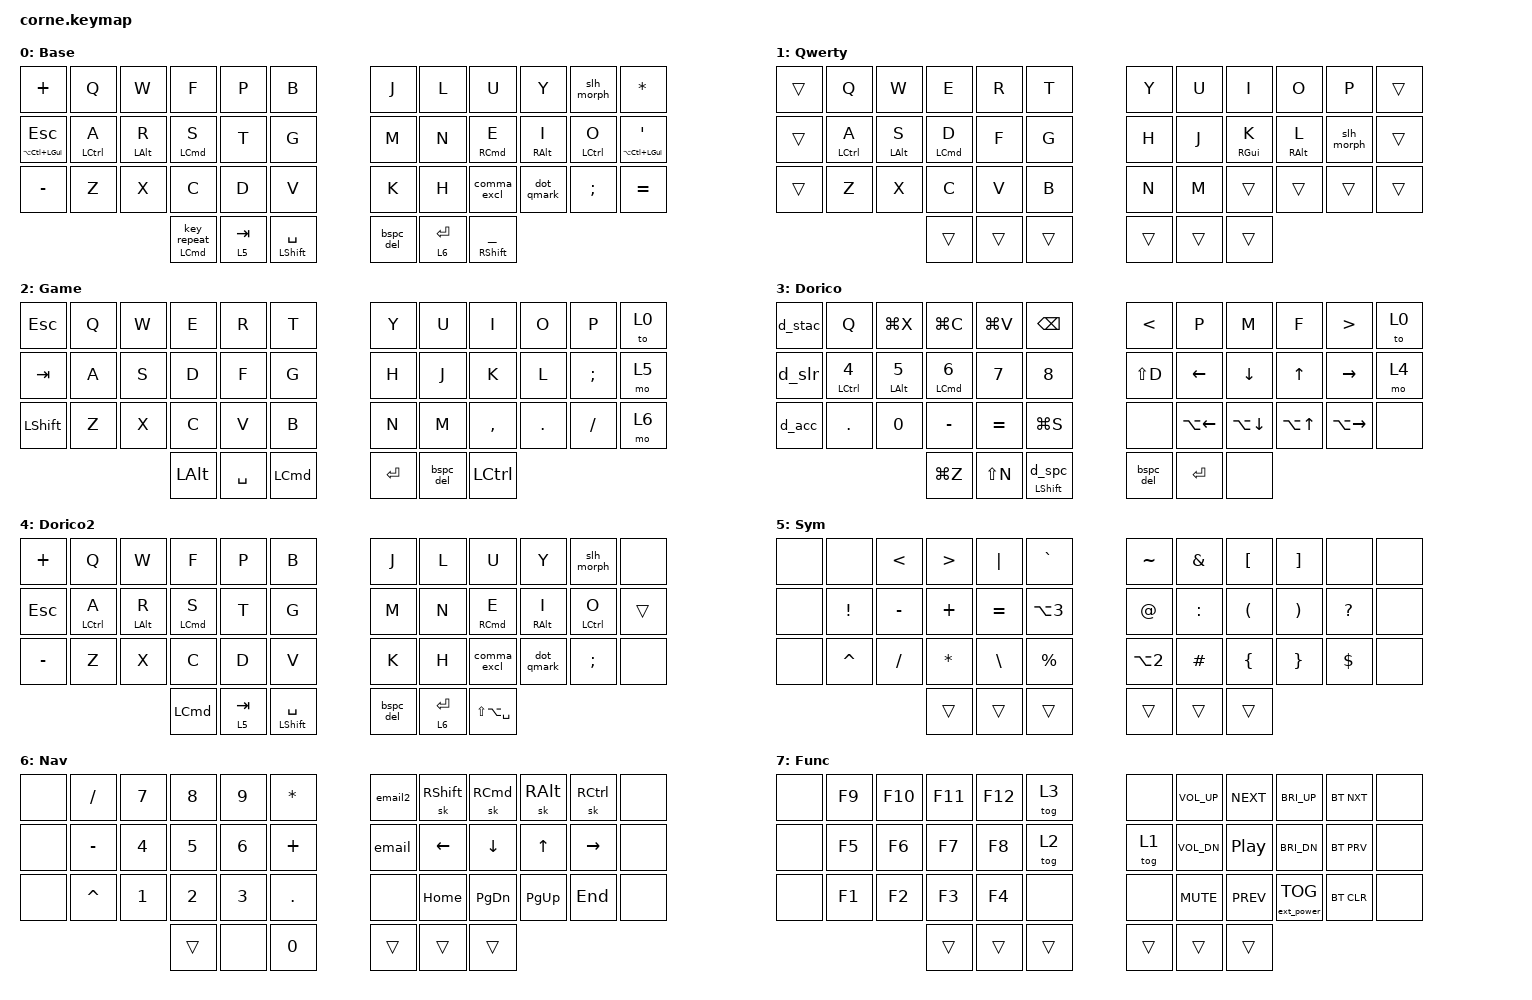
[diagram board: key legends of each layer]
#include <behaviors.dtsi>
#include <dt-bindings/zmk/bt.h>
#include <dt-bindings/zmk/ext_power.h>
#include <dt-bindings/zmk/keys.h>

/ {
    behaviors {
        bspc_del: bspc_del {
            compatible = "zmk,behavior-mod-morph";
            label = "BSPC_DEL";
            #binding-cells = <0>;
            bindings = <&kp BSPC>, <&kp DEL>;

            mods = <(MOD_LSFT|MOD_RSFT)>;
        };

        comma_excl: comma_excl {
            compatible = "zmk,behavior-mod-morph";
            label = "COMMA_EXCL";
            #binding-cells = <0>;
            bindings = <&kp COMMA>, <&kp EXCLAMATION>;

            mods = <(MOD_LSFT|MOD_RSFT)>;
        };

        dot_qmark: dot_qmark {
            compatible = "zmk,behavior-mod-morph";
            label = "DOT_QMARK";
            #binding-cells = <0>;
            bindings = <&kp DOT>, <&kp QUESTION>;

            mods = <(MOD_LSFT|MOD_RSFT)>;
        };

        hml: hml {
            compatible = "zmk,behavior-hold-tap";
            label = "HML";
            bindings = <&kp>, <&kp>;

            #binding-cells = <2>;
            tapping-term-ms = <280>;
            quick-tap-ms = <175>;
            require-prior-idle-ms = <150>;
            flavor = "balanced";
            hold-trigger-key-positions = <6 7 8 9 10 11 18 19 20 21 22 23 30 31 32 33 34 35 39 40 41>;
            hold-trigger-on-release;
        };

        hmr: hmr {
            compatible = "zmk,behavior-hold-tap";
            label = "HMR";
            bindings = <&kp>, <&kp>;

            #binding-cells = <2>;
            tapping-term-ms = <280>;
            quick-tap-ms = <175>;
            require-prior-idle-ms = <150>;
            flavor = "balanced";
            hold-trigger-key-positions = <0 1 2 3 4 5 12 13 14 15 16 17 24 25 26 27 28 29 36 37 38>;
            hold-trigger-on-release;
        };

        slh_morph: slh_morph {
            compatible = "zmk,behavior-mod-morph";
            label = "SLH_MORPH";
            bindings = <&kp SLASH>, <&kp BACKSLASH>;

            #binding-cells = <0>;
            mods = <(MOD_LSFT|MOD_RSFT)>;
        };

        kp_bspc: kp_bspc {
            compatible = "zmk,behavior-hold-tap";
            label = "KP_BSPC";
            bindings = <&kp>, <&bspc_del>;

            #binding-cells = <2>;
            tapping-term-ms = <200>;
        };

        lt_hpref: lt_hpref {
            compatible = "zmk,behavior-hold-tap";
            label = "LT_HPREF";
            bindings = <&mo>, <&kp>;

            #binding-cells = <2>;
            tapping-term-ms = <200>;
        };

        d_acc: d_acc {
            compatible = "zmk,behavior-tap-dance";
            label = "D_ACC";
            #binding-cells = <0>;
            bindings = <&kp LBKT>, <&kp SQT>, <&kp LBRC>, <&kp DQT>;
        };

        d_stac: d_stac {
            compatible = "zmk,behavior-tap-dance";
            label = "D_STAC";
            #binding-cells = <0>;
            bindings = <&kp RBKT>, <&kp BSLH>, <&kp RBRC>, <&kp PIPE>;
        };

        d_slr: d_slr {
            compatible = "zmk,behavior-tap-dance";
            label = "D_SLR";
            #binding-cells = <0>;
            bindings = <&kp S>, <&kp T>;
        };

        d_spc: d_spc {
            compatible = "zmk,behavior-tap-dance";
            label = "D_SPC";
            #binding-cells = <0>;
            bindings = <&kp SPACE>, <&kp P>;

            tapping-term-ms = <300>;
        };

        d_mt: d_mt {
            compatible = "zmk,behavior-hold-tap";
            label = "D_MT";
            bindings = <&kp>, <&kp>;

            #binding-cells = <2>;
            tapping-term-ms = <150>;
            hold-while-undecided;
            quick-tap-ms = <150>;
        };

        d_shft_spc: d_shft_spc {
            compatible = "zmk,behavior-hold-tap";
            label = "D_SHFT_SPC";
            bindings = <&kp>, <&d_spc>;

            #binding-cells = <2>;
            tapping-term-ms = <300>;
            hold-while-undecided;
        };

        h_rpt: h_rpt {
            compatible = "zmk,behavior-hold-tap";
            label = "H_RPT";
            bindings = <&kp>, <&key_repeat>;

            #binding-cells = <2>;
            tapping-term-ms = <150>;
        };
    };

    conditional_layers {
        compatible = "zmk,conditional-layers";

        func_layer {
            if-layers = <5 6>;
            then-layer = <7>;
        };
    };

    macros {
        email: email {
            compatible = "zmk,behavior-macro";
            #binding-cells = <0>;
            bindings = <&kp T &kp H &kp O &kp M &kp A &kp S &kp A &kp L &kp B &kp A &kp N &kp M &kp U &kp S &kp I &kp C &kp AT &kp G &kp M &kp A &kp I &kp L &kp DOT &kp C &kp O &kp M>;
            label = "EMAIL";
        };

        email2: email2 {
            compatible = "zmk,behavior-macro";
            #binding-cells = <0>;
            bindings = <&kp A &kp L &kp B &kp A &kp N &kp DOT &kp T &kp C &kp AT &kp O &kp U &kp N &kp D &kp L &kp E &kp S &kp C &kp H &kp O &kp O &kp L &kp DOT &kp O &kp R &kp G &kp DOT &kp U &kp K>;
            label = "EMAIL2";
        };
    };

    keymap {
        compatible = "zmk,keymap";

        Base {
            label = "Base";
            bindings = <
&kp PLUS              &kp Q         &kp W        &kp F          &kp P            &kp B              &kp J      &kp L              &kp U            &kp Y        &slh_morph    &kp STAR
&mt LA(LC(LGUI)) ESC  &hml LCTRL A  &hml LALT R  &hml LCMD S    &kp T            &kp G              &kp M      &kp N              &hmr RCMD E      &hmr RALT I  &hmr LCTRL O  &mt LA(LC(LGUI)) APOS
&kp MINUS             &kp Z         &kp X        &kp C          &kp D            &kp V              &kp K      &kp H              &comma_excl      &dot_qmark   &kp SEMI      &kp EQUAL
                                                 &h_rpt LCMD 0  &lt_hpref 5 TAB  &mt LSHFT SPACE    &bspc_del  &lt_hpref 6 ENTER  &mt RSHFT UNDER
            >;
        };

        Qwerty {
            label = "Qwerty";
            bindings = <
&trans  &kp Q         &kp W        &kp E        &kp R   &kp T     &kp Y   &kp U   &kp I        &kp O        &kp P       &trans
&trans  &hml LCTRL A  &hml LALT S  &hml LCMD D  &kp F   &kp G     &kp H   &kp J   &hmr RGUI K  &hmr RALT L  &slh_morph  &trans
&trans  &kp Z         &kp X        &kp C        &kp V   &kp B     &kp N   &kp M   &trans       &trans       &trans      &trans
                                   &trans       &trans  &trans    &trans  &trans  &trans
            >;
        };

        Game {
            label = "Game";
            bindings = <
&kp ESC    &kp Q  &kp W  &kp E     &kp R      &kp T       &kp Y    &kp U      &kp I      &kp O    &kp P     &to 0
&kp TAB    &kp A  &kp S  &kp D     &kp F      &kp G       &kp H    &kp J      &kp K      &kp L    &kp SEMI  &mo 5
&kp LSHFT  &kp Z  &kp X  &kp C     &kp V      &kp B       &kp N    &kp M      &kp COMMA  &kp DOT  &kp FSLH  &mo 6
                         &kp LALT  &kp SPACE  &kp LCMD    &kp RET  &bspc_del  &kp LCTRL
            >;
        };

        Dorico {
            bindings = <
&d_stac  &kp Q           &kp LG(X)      &kp LG(C)      &kp LG(V)  &kp BSPC               &kp LT     &kp P         &kp M         &kp F       &kp GT         &to 0
&d_slr   &d_mt LCTRL N4  &d_mt LALT N5  &d_mt LCMD N6  &kp N7     &kp N8                 &kp LS(D)  &kp LEFT      &kp DOWN      &kp UP      &kp RIGHT      &mo 4
&d_acc   &kp DOT         &kp N0         &kp MINUS      &kp EQUAL  &kp LG(S)              &none      &kp LA(LEFT)  &kp LA(DOWN)  &kp LA(UP)  &kp LA(RIGHT)  &none
                                        &kp LG(Z)      &kp LS(N)  &d_shft_spc LSHFT 0    &bspc_del  &kp ENTER     &none
            >;

            label = "Dorico";
        };

        Dorico2 {
            label = "Dorico2";
            bindings = <
&kp PLUS   &kp Q         &kp W        &kp F        &kp P            &kp B              &kp J      &kp L              &kp U              &kp Y        &slh_morph    &none
&kp ESC    &hml LCTRL A  &hml LALT R  &hml LCMD S  &kp T            &kp G              &kp M      &kp N              &hmr RCMD E        &hmr RALT I  &hmr LCTRL O  &trans
&kp MINUS  &kp Z         &kp X        &kp C        &kp D            &kp V              &kp K      &kp H              &comma_excl        &dot_qmark   &kp SEMI      &none
                                      &kp LCMD     &lt_hpref 5 TAB  &mt LSHFT SPACE    &bspc_del  &lt_hpref 6 ENTER  &kp LS(LA(SPACE))
            >;
        };

        Sym {
            label = "Sym";
            bindings = <
&none  &none      &kp LESS_THAN  &kp GREATER_THAN  &kp PIPE   &kp GRAVE      &kp TILDE   &kp AMPS   &kp LBKT  &kp RBKT  &none       &none
&none  &kp EXCL   &kp MINUS      &kp PLUS          &kp EQUAL  &kp LA(N3)     &kp AT      &kp COLON  &kp LPAR  &kp RPAR  &kp QMARK   &none
&none  &kp CARET  &kp SLASH      &kp STAR          &kp BSLH   &kp PERCENT    &kp LA(N2)  &kp HASH   &kp LBRC  &kp RBRC  &kp DOLLAR  &none
                                 &trans            &trans     &trans         &trans      &trans     &trans
            >;
        };

        Nav {
            label = "Nav";
            bindings = <
&none  &kp SLASH  &kp N7  &kp N8  &kp N9  &kp STAR    &email2  &sk RSHFT  &sk RCMD   &sk RALT   &sk RCTRL  &none
&none  &kp MINUS  &kp N4  &kp N5  &kp N6  &kp PLUS    &email   &kp LEFT   &kp DOWN   &kp UP     &kp RIGHT  &none
&none  &kp CARET  &kp N1  &kp N2  &kp N3  &kp DOT     &none    &kp HOME   &kp PG_DN  &kp PG_UP  &kp END    &none
                          &trans  &none   &kp N0      &trans   &trans     &trans
            >;
        };

        Func {
            label = "Func";
            bindings = <
&none  &kp F9  &kp F10  &kp F11  &kp F12  &tog 3    &none   &kp C_VOL_UP  &kp C_NEXT        &kp C_BRI_UP       &bt BT_NXT  &none
&none  &kp F5  &kp F6   &kp F7   &kp F8   &tog 2    &tog 1  &kp C_VOL_DN  &kp C_PLAY_PAUSE  &kp C_BRI_DN       &bt BT_PRV  &none
&none  &kp F1  &kp F2   &kp F3   &kp F4   &none     &none   &kp C_MUTE    &kp C_PREV        &ext_power EP_TOG  &bt BT_CLR  &none
                        &trans   &trans   &trans    &trans  &trans        &trans
            >;
        };
    };
};
